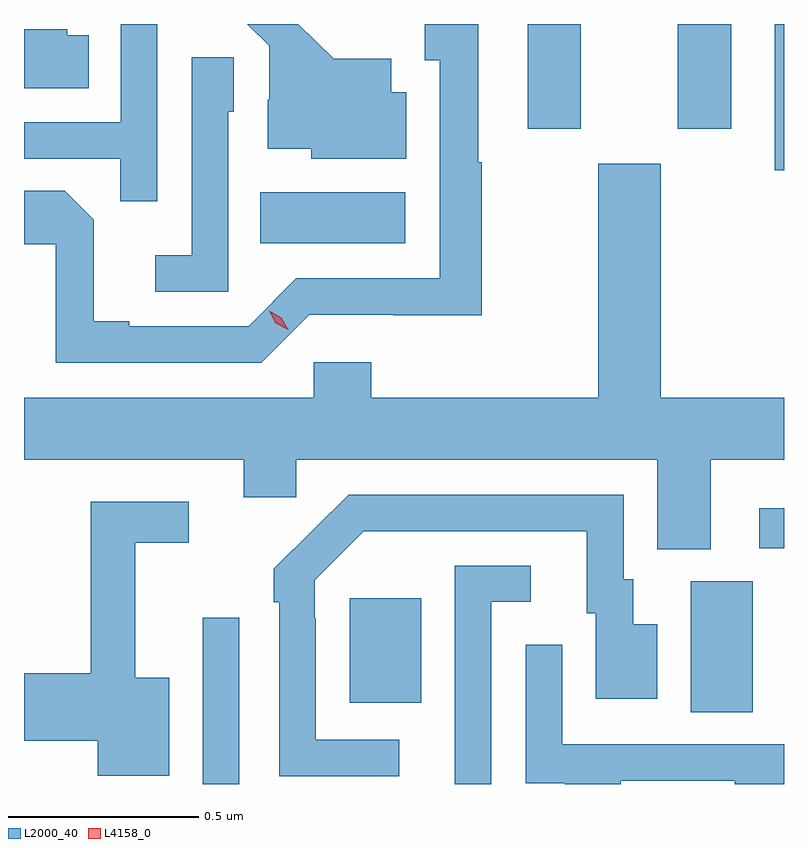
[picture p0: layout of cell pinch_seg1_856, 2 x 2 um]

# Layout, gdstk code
import gdstk
lib = gdstk.Library(unit=1e-6, precision=1e-09)
def R(c, l, rs):  # rectangles x0, y0, x1, y1
    for r in rs: c.add(gdstk.rectangle(r[:2], r[2:], *l))
def P(c, l, *ps):  # polygons
    for p in ps: c.add(gdstk.Polygon(p, *l))
L2000_40 = (2000, 40)
L4158_0 = (4158, 0)

pinch_seg1_856 = lib.new_cell('pinch_seg1_856')
R(pinch_seg1_856, L2000_40, [(470.661,560.203,470.757,560.641), (471.944,560.392,472.108,560.736), (471.047,560.417,471.235,560.692), (472.125,560.823,472.19,560.929), (470.812,561.626,471.193,561.76), (472.166,561.818,472.19,562.203), (471.515,561.927,471.655,562.203), (471.911,561.927,472.051,562.203)])
P(pinch_seg1_856, L2000_40, [(471.196,562.024),(471.157,562.024),(471.157,562.111),(471.005,562.111),(470.912,562.203),(470.778,562.203),(470.835,562.146),(470.835,562.004),(470.831,562.004),(470.831,561.875),(470.946,561.875),(470.946,561.848),(471.196,561.848)],
  [(470.541,562.203),(470.445,562.203),(470.445,561.945),(470.19,561.945),(470.19,561.849),(470.443,561.849),(470.443,561.736),(470.541,561.736)],
  [(470.94,561.438),(471.162,561.438),(471.162,561.437),(471.395,561.437),(471.395,561.839),(471.385,561.839),(471.385,562.203),(471.245,562.203),(471.245,562.107),(471.284,562.107),(471.284,561.534),(470.907,561.534),(470.781,561.408),(470.467,561.408),(470.467,561.421),(470.373,561.421),(470.373,561.688),(470.297,561.764),(470.19,561.764),(470.19,561.624),(470.274,561.624),(470.274,561.312),(470.814,561.312)],
  [(470.36,562.174),(470.304,562.174),(470.304,562.189),(470.19,562.189),(470.19,562.034),(470.36,562.034)],
  [(470.727,561.972),(470.742,561.972),(470.742,562.115),(470.631,562.115),(470.631,561.595),(470.535,561.595),(470.535,561.498),(470.727,561.498)],
  [(471.997,561.056),(472.19,561.056),(472.19,561.22),(471.865,561.22),(471.865,561.835),(471.701,561.835),(471.701,561.22),(471.104,561.22),(471.104,561.313),(470.952,561.313),(470.952,561.22),(470.19,561.22),(470.19,561.056),(470.768,561.056),(470.768,560.958),(470.907,560.958),(470.907,561.056),(471.857,561.056),(471.857,560.821),(471.997,560.821)],
  [(471.178,560.319),(470.958,560.319),(470.958,560.639),(470.955,560.639),(470.955,560.739),(471.084,560.868),(471.671,560.868),(471.671,560.652),(471.695,560.652),(471.695,560.427),(471.856,560.427),(471.856,560.623),(471.793,560.623),(471.793,560.742),(471.768,560.742),(471.768,560.964),(471.044,560.964),(470.953,560.873),(470.952,560.874),(470.847,560.769),(470.847,560.681),(470.862,560.681),(470.862,560.223),(471.178,560.223)],
  [(470.572,560.482),(470.483,560.482),(470.483,560.838),(470.623,560.838),(470.623,560.946),(470.365,560.946),(470.365,560.495),(470.19,560.495),(470.19,560.317),(470.384,560.317),(470.384,560.225),(470.572,560.225)],
  [(471.42,560.682),(471.523,560.682),(471.523,560.778),(471.324,560.778),(471.324,560.321),(471.323,560.321),(471.323,560.203),(471.42,560.203)],
  [(471.761,560.211),(472.061,560.211),(472.061,560.203),(472.19,560.203),(472.19,560.307),(471.606,560.307),(471.606,560.569),(471.51,560.569),(471.51,560.314),(471.511,560.314),(471.511,560.205),(471.613,560.205),(471.613,560.203),(471.761,560.203)])
P(pinch_seg1_856, L4158_0, [(470.885,561.398),(470.853,561.416),(470.835,561.449),(470.835,561.449),(470.836,561.449),(470.867,561.43),(470.885,561.398),(470.885,561.398)])

lib.write_gds('pinch_seg1_856.gds')
